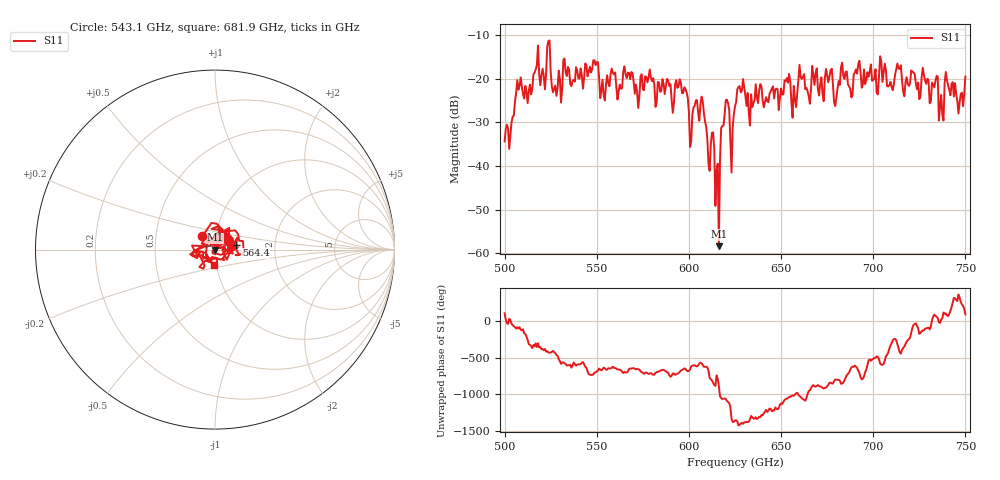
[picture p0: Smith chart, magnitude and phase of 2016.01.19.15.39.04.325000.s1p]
!Created with skrf (http://scikit-rf.org).
# GHz S RI R 50.0
!freq ReS11 ImS11
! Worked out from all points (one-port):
!   401 points, 500 GHz to 750 GHz, reference 50 ohm
!   lowest |S11| = -58.4 dB at 616.2 GHz (marker M1), VSWR 1.00, Z = 49.9 - j0.0173 ohm
!   |S11| at or under -10 dB: start of sweep to end of sweep
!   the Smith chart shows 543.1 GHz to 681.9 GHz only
!   S11 on the Smith chart (normalised r, x): 543.1 GHz: 0.86, +0.13; 564.4 GHz: 1.27, +0.07; 681.9 GHz: 0.98, -0.17
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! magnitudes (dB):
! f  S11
! 500 GHz  -34.4
! 507.5 GHz  -22.5
! 513.8 GHz  -21.3
! 516.9 GHz  -17.9
! 531.2 GHz  -22.2
! 543.1 GHz  -19.8
! 562.5 GHz  -21.3
! 564.4 GHz  -18.3
! 593.8 GHz  -22.1
! 601.2 GHz  -34.3
! 607.5 GHz  -25.2
! 615 GHz  -41.0
! 616.2 GHz  -58.4
! 619.4 GHz  -28.2
! 623.1 GHz  -41.5
! 625 GHz  -26.3
! 628.1 GHz  -23.1
! 633.8 GHz  -23.6
! 653.1 GHz  -19.9
! 656.2 GHz  -28.9
! 681.9 GHz  -21.4
! 687.5 GHz  -22.2
! 691.2 GHz  -18.8
! 718.8 GHz  -21.2
! 733.8 GHz  -20.5
! 736.9 GHz  -23.7
! 740 GHz  -20.3
! 750 GHz  -19.5
